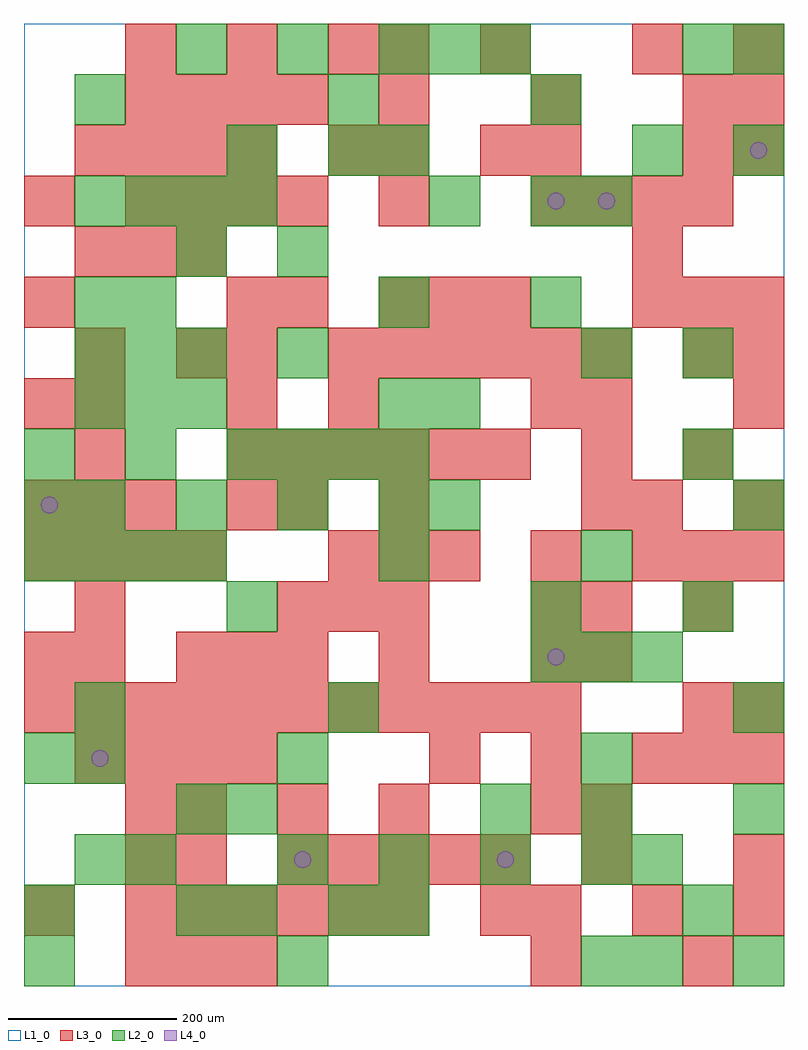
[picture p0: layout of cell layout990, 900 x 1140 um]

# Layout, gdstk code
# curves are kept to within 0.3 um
import gdstk
lib = gdstk.Library(unit=1e-6, precision=1e-09)
def R(c, l, rs):  # rectangles x0, y0, x1, y1
    for r in rs: c.add(gdstk.rectangle(r[:2], r[2:], *l))
def A(c, l, x, y, w, h, nx, ny, dx, dy):  # array of equal rectangles
    R(c, l, [(x+i*dx, y+j*dy, x+i*dx+w, y+j*dy+h) for i in range(nx) for j in range(ny)])
def P(c, l, *ps):  # polygons
    for p in ps: c.add(gdstk.Polygon(p, *l))
L1_0 = (1, 0)
L2_0 = (2, 0)
L3_0 = (3, 0)
L4_0 = (4, 0)

layout990 = lib.new_cell('layout990')
R(layout990, L1_0, [(0,0,900,1140)])
A(layout990, L2_0, 300, 120, 60, 60, 4, 1, 120, 0)
A(layout990, L2_0, 660, 240, 60, 60, 1, 3, 0, 240)
A(layout990, L2_0, 600, 360, 60, 60, 3, 1, 60, 0)
A(layout990, L2_0, 0, 480, 60, 60, 4, 1, 60, 0)
A(layout990, L2_0, 60, 540, 60, 60, 4, 1, 120, 0)
A(layout990, L2_0, 0, 600, 60, 60, 3, 1, 120, 0)
A(layout990, L2_0, 300, 600, 60, 60, 3, 1, 60, 0)
A(layout990, L2_0, 60, 660, 60, 60, 3, 2, 60, 60)
A(layout990, L2_0, 600, 780, 60, 60, 1, 3, 0, 120)
A(layout990, L2_0, 60, 900, 60, 60, 4, 1, 60, 0)
A(layout990, L2_0, 180, 1080, 60, 60, 3, 1, 120, 0)
R(layout990, L2_0, [(0,0,60,60), (300,0,360,60), (660,0,720,60), (720,0,780,60), (840,0,900,60), (0,60,60,120), (180,60,240,120), (240,60,300,120), (360,60,420,120), (420,60,480,120), (780,60,840,120), (60,120,120,180), (120,120,180,180), (720,120,780,180), (180,180,240,240), (240,180,300,240), (540,180,600,240), (660,180,720,240), (840,180,900,240), (0,240,60,300), (60,240,120,300), (300,240,360,300), (60,300,120,360), (360,300,420,360), (840,300,900,360), (240,420,300,480), (600,420,660,480), (780,420,840,480), (420,480,480,540), (0,540,60,600), (480,540,540,600), (840,540,900,600), (780,600,840,660), (420,660,480,720), (480,660,540,720), (300,720,360,780), (780,720,840,780), (60,780,120,840), (120,780,180,840), (420,780,480,840), (180,840,240,900), (300,840,360,900), (480,900,540,960), (660,900,720,960), (240,960,300,1020), (360,960,420,1020), (420,960,480,1020), (720,960,780,1020), (840,960,900,1020), (60,1020,120,1080), (360,1020,420,1080), (480,1080,540,1140), (540,1080,600,1140), (780,1080,840,1140), (840,1080,900,1140)])
A(layout990, L3_0, 120, 0, 60, 60, 3, 1, 60, 0)
A(layout990, L3_0, 600, 0, 60, 60, 1, 3, 0, 180)
A(layout990, L3_0, 0, 60, 60, 60, 1, 3, 0, 300)
A(layout990, L3_0, 120, 60, 60, 60, 6, 1, 60, 0)
A(layout990, L3_0, 600, 60, 60, 60, 3, 1, 120, 0)
A(layout990, L3_0, 300, 120, 60, 60, 5, 1, 60, 0)
A(layout990, L3_0, 180, 180, 60, 60, 3, 1, 120, 0)
A(layout990, L3_0, 60, 240, 60, 60, 4, 2, 60, 720)
A(layout990, L3_0, 480, 240, 60, 60, 3, 1, 120, 0)
A(layout990, L3_0, 0, 300, 60, 60, 11, 1, 60, 0)
A(layout990, L3_0, 180, 360, 60, 60, 3, 1, 60, 0)
A(layout990, L3_0, 300, 420, 60, 60, 3, 1, 60, 0)
A(layout990, L3_0, 0, 480, 60, 60, 4, 1, 60, 0)
A(layout990, L3_0, 360, 480, 60, 60, 3, 1, 60, 0)
A(layout990, L3_0, 720, 480, 60, 60, 3, 2, 60, 300)
A(layout990, L3_0, 0, 540, 60, 60, 3, 1, 60, 0)
A(layout990, L3_0, 660, 540, 60, 60, 1, 3, 0, 60)
A(layout990, L3_0, 60, 600, 60, 60, 1, 3, 0, 60)
A(layout990, L3_0, 240, 600, 60, 60, 6, 1, 60, 0)
A(layout990, L3_0, 240, 660, 60, 60, 1, 3, 0, 60)
A(layout990, L3_0, 360, 720, 60, 60, 6, 1, 60, 0)
A(layout990, L3_0, 420, 780, 60, 60, 3, 1, 60, 0)
A(layout990, L3_0, 60, 840, 60, 60, 3, 1, 60, 0)
A(layout990, L3_0, 120, 900, 60, 60, 4, 2, 60, 120)
A(layout990, L3_0, 600, 900, 60, 60, 4, 1, 60, 0)
A(layout990, L3_0, 840, 960, 60, 60, 1, 3, 0, 60)
A(layout990, L3_0, 420, 1020, 60, 60, 3, 1, 180, 0)
A(layout990, L3_0, 120, 1080, 60, 60, 3, 1, 120, 0)
R(layout990, L3_0, [(780,0,840,60), (540,60,600,120), (120,120,180,180), (180,120,240,180), (660,120,720,180), (840,120,900,180), (120,180,180,240), (660,180,720,240), (780,240,840,300), (840,240,900,300), (780,300,840,360), (840,300,900,360), (60,360,120,420), (420,360,480,420), (660,360,720,420), (60,420,120,480), (600,420,660,480), (660,420,720,480), (780,420,840,480), (600,480,660,540), (240,540,300,600), (300,540,360,600), (420,540,480,600), (720,540,780,600), (840,540,900,600), (780,600,840,660), (360,660,420,720), (600,660,660,720), (840,660,900,720), (180,720,240,780), (780,720,840,780), (840,720,900,780), (0,780,60,840), (300,780,360,840), (720,840,780,900), (0,900,60,960), (420,900,480,960), (360,960,420,1020), (420,960,480,1020), (540,960,600,1020), (600,960,660,1020), (780,960,840,1020), (420,1080,480,1140), (540,1080,600,1140), (720,1080,780,1140)])
P(layout990, L4_0, [(40,570),(39.239,573.827),(37.071,577.071),(33.827,579.239),(30,580),(26.173,579.239),(22.929,577.071),(20.761,573.827),(20,570),(20.761,566.173),(22.929,562.929),(26.173,560.761),(30,560),(33.827,560.761),(37.071,562.929),(39.239,566.173)],
  [(100,270),(99.239,273.827),(97.071,277.071),(93.827,279.239),(90,280),(86.173,279.239),(82.929,277.071),(80.761,273.827),(80,270),(80.761,266.173),(82.929,262.929),(86.173,260.761),(90,260),(93.827,260.761),(97.071,262.929),(99.239,266.173)],
  [(340,150),(339.239,153.827),(337.071,157.071),(333.827,159.239),(330,160),(326.173,159.239),(322.929,157.071),(320.761,153.827),(320,150),(320.761,146.173),(322.929,142.929),(326.173,140.761),(330,140),(333.827,140.761),(337.071,142.929),(339.239,146.173)],
  [(580,150),(579.239,153.827),(577.071,157.071),(573.827,159.239),(570,160),(566.173,159.239),(562.929,157.071),(560.761,153.827),(560,150),(560.761,146.173),(562.929,142.929),(566.173,140.761),(570,140),(573.827,140.761),(577.071,142.929),(579.239,146.173)],
  [(640,390),(639.239,393.827),(637.071,397.071),(633.827,399.239),(630,400),(626.173,399.239),(622.929,397.071),(620.761,393.827),(620,390),(620.761,386.173),(622.929,382.929),(626.173,380.761),(630,380),(633.827,380.761),(637.071,382.929),(639.239,386.173)],
  [(640,930),(639.239,933.827),(637.071,937.071),(633.827,939.239),(630,940),(626.173,939.239),(622.929,937.071),(620.761,933.827),(620,930),(620.761,926.173),(622.929,922.929),(626.173,920.761),(630,920),(633.827,920.761),(637.071,922.929),(639.239,926.173)],
  [(700,930),(699.239,933.827),(697.071,937.071),(693.827,939.239),(690,940),(686.173,939.239),(682.929,937.071),(680.761,933.827),(680,930),(680.761,926.173),(682.929,922.929),(686.173,920.761),(690,920),(693.827,920.761),(697.071,922.929),(699.239,926.173)],
  [(880,990),(879.239,993.827),(877.071,997.071),(873.827,999.239),(870,1000),(866.173,999.239),(862.929,997.071),(860.761,993.827),(860,990),(860.761,986.173),(862.929,982.929),(866.173,980.761),(870,980),(873.827,980.761),(877.071,982.929),(879.239,986.173)])

lib.write_gds('layout990.gds')
